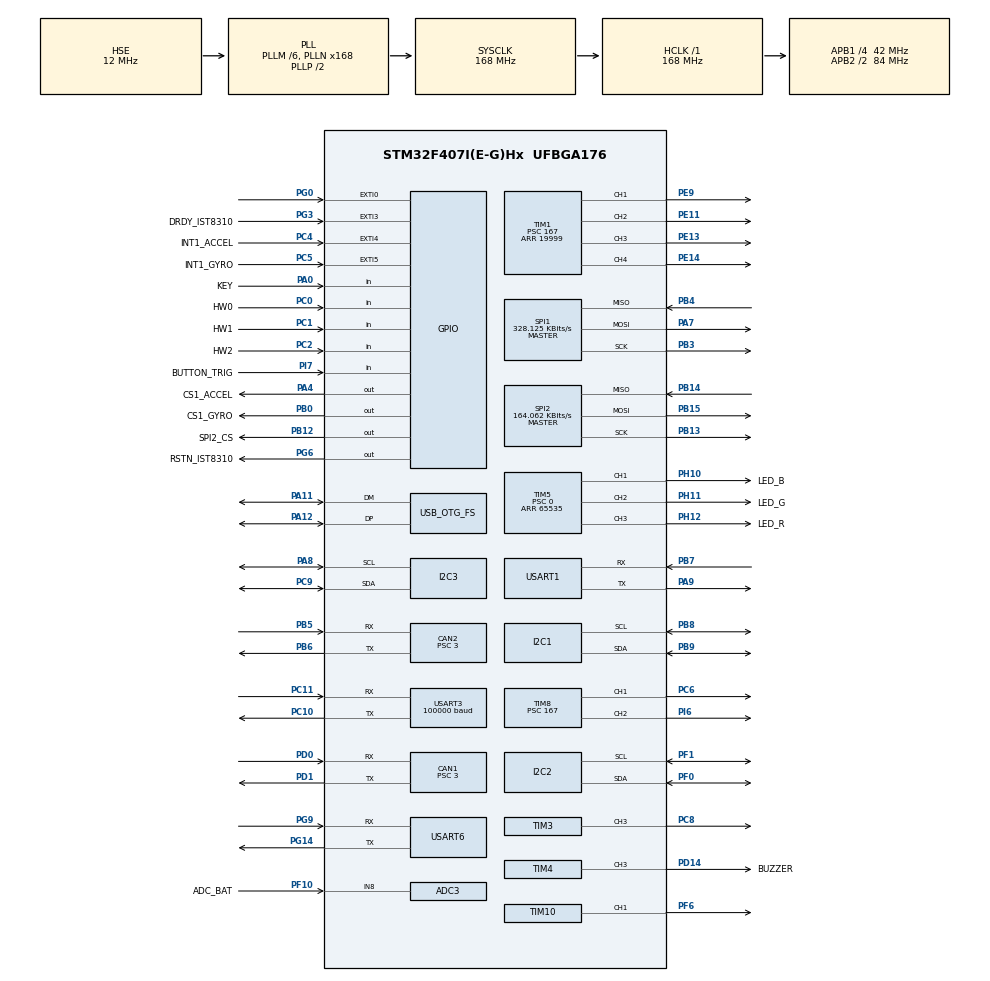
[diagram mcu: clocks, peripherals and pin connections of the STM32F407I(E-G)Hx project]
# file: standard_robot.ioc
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ADC1.Channel-0\#ChannelRegularConversion=ADC_CHANNEL_TEMPSENSOR
ADC1.ClockPrescaler=ADC_CLOCK_SYNC_PCLK_DIV6
ADC1.NbrOfConversionFlag=1
ADC1.Rank-0\#ChannelRegularConversion=1
ADC1.SamplingTime-0\#ChannelRegularConversion=ADC_SAMPLETIME_3CYCLES
ADC1.master=1
ADC3.Channel-0\#ChannelRegularConversion=ADC_CHANNEL_8
ADC3.ClockPrescaler=ADC_CLOCK_SYNC_PCLK_DIV6
ADC3.NbrOfConversionFlag=1
ADC3.Rank-0\#ChannelRegularConversion=1
ADC3.SamplingTime-0\#ChannelRegularConversion=ADC_SAMPLETIME_3CYCLES
CAN1.BS1=CAN_BS1_10TQ
CAN1.BS2=CAN_BS2_3TQ
CAN1.CalculateTimeQuantum=71.42857142857143
CAN1.Prescaler=3
CAN2.BS1=CAN_BS1_10TQ
CAN2.BS2=CAN_BS2_3TQ
CAN2.CalculateTimeQuantum=71.42857142857143
CAN2.Prescaler=3
Dma.I2C2_TX.2.Direction=DMA_MEMORY_TO_PERIPH
Dma.I2C2_TX.2.FIFOMode=DMA_FIFOMODE_DISABLE
Dma.I2C2_TX.2.Instance=DMA1_Stream7
Dma.I2C2_TX.2.MemDataAlignment=DMA_MDATAALIGN_BYTE
Dma.I2C2_TX.2.MemInc=DMA_MINC_ENABLE
Dma.I2C2_TX.2.Mode=DMA_NORMAL
Dma.I2C2_TX.2.PeriphDataAlignment=DMA_PDATAALIGN_BYTE
Dma.I2C2_TX.2.PeriphInc=DMA_PINC_DISABLE
Dma.I2C2_TX.2.Priority=DMA_PRIORITY_HIGH
Dma.Request0=SPI1_RX
Dma.Request1=SPI1_TX
Dma.Request2=I2C2_TX
Dma.Request3=USART3_RX
Dma.Request4=USART6_RX
Dma.Request5=USART6_TX
Dma.Request6=USART1_TX
Dma.Request7=USART1_RX
Dma.SPI1_RX.0.Direction=DMA_PERIPH_TO_MEMORY
Dma.SPI1_RX.0.FIFOMode=DMA_FIFOMODE_DISABLE
Dma.SPI1_RX.0.Instance=DMA2_Stream2
Dma.SPI1_RX.0.MemDataAlignment=DMA_MDATAALIGN_BYTE
Dma.SPI1_RX.0.MemInc=DMA_MINC_ENABLE
Dma.SPI1_RX.0.Mode=DMA_NORMAL
Dma.SPI1_RX.0.PeriphDataAlignment=DMA_PDATAALIGN_BYTE
Dma.SPI1_RX.0.PeriphInc=DMA_PINC_DISABLE
Dma.SPI1_RX.0.Priority=DMA_PRIORITY_VERY_HIGH
Dma.SPI1_TX.1.Direction=DMA_MEMORY_TO_PERIPH
Dma.SPI1_TX.1.FIFOMode=DMA_FIFOMODE_DISABLE
Dma.SPI1_TX.1.Instance=DMA2_Stream3
Dma.SPI1_TX.1.MemDataAlignment=DMA_MDATAALIGN_BYTE
Dma.SPI1_TX.1.MemInc=DMA_MINC_ENABLE
Dma.SPI1_TX.1.Mode=DMA_NORMAL
Dma.SPI1_TX.1.PeriphDataAlignment=DMA_PDATAALIGN_BYTE
Dma.SPI1_TX.1.PeriphInc=DMA_PINC_DISABLE
Dma.SPI1_TX.1.Priority=DMA_PRIORITY_HIGH
Dma.USART1_RX.7.Direction=DMA_PERIPH_TO_MEMORY
Dma.USART1_RX.7.FIFOMode=DMA_FIFOMODE_DISABLE
Dma.USART1_RX.7.Instance=DMA2_Stream5
Dma.USART1_RX.7.MemDataAlignment=DMA_MDATAALIGN_BYTE
Dma.USART1_RX.7.MemInc=DMA_MINC_ENABLE
Dma.USART1_RX.7.Mode=DMA_NORMAL
Dma.USART1_RX.7.PeriphDataAlignment=DMA_PDATAALIGN_BYTE
Dma.USART1_RX.7.PeriphInc=DMA_PINC_DISABLE
Dma.USART1_RX.7.Priority=DMA_PRIORITY_MEDIUM
Dma.USART1_TX.6.Direction=DMA_MEMORY_TO_PERIPH
Dma.USART1_TX.6.FIFOMode=DMA_FIFOMODE_DISABLE
Dma.USART1_TX.6.Instance=DMA2_Stream7
Dma.USART1_TX.6.MemDataAlignment=DMA_MDATAALIGN_BYTE
Dma.USART1_TX.6.MemInc=DMA_MINC_ENABLE
Dma.USART1_TX.6.Mode=DMA_NORMAL
Dma.USART1_TX.6.PeriphDataAlignment=DMA_PDATAALIGN_BYTE
Dma.USART1_TX.6.PeriphInc=DMA_PINC_DISABLE
Dma.USART1_TX.6.Priority=DMA_PRIORITY_MEDIUM
Dma.USART3_RX.3.Direction=DMA_PERIPH_TO_MEMORY
Dma.USART3_RX.3.FIFOMode=DMA_FIFOMODE_DISABLE
Dma.USART3_RX.3.Instance=DMA1_Stream1
Dma.USART3_RX.3.MemDataAlignment=DMA_MDATAALIGN_BYTE
Dma.USART3_RX.3.MemInc=DMA_MINC_ENABLE
Dma.USART3_RX.3.Mode=DMA_NORMAL
Dma.USART3_RX.3.PeriphDataAlignment=DMA_PDATAALIGN_BYTE
Dma.USART3_RX.3.PeriphInc=DMA_PINC_DISABLE
Dma.USART3_RX.3.Priority=DMA_PRIORITY_HIGH
Dma.USART6_RX.4.Direction=DMA_PERIPH_TO_MEMORY
Dma.USART6_RX.4.FIFOMode=DMA_FIFOMODE_DISABLE
Dma.USART6_RX.4.Instance=DMA2_Stream1
Dma.USART6_RX.4.MemDataAlignment=DMA_MDATAALIGN_BYTE
Dma.USART6_RX.4.MemInc=DMA_MINC_ENABLE
Dma.USART6_RX.4.Mode=DMA_NORMAL
Dma.USART6_RX.4.PeriphDataAlignment=DMA_PDATAALIGN_BYTE
Dma.USART6_RX.4.PeriphInc=DMA_PINC_DISABLE
Dma.USART6_RX.4.Priority=DMA_PRIORITY_HIGH
Dma.USART6_TX.5.Direction=DMA_MEMORY_TO_PERIPH
Dma.USART6_TX.5.FIFOMode=DMA_FIFOMODE_DISABLE
Dma.USART6_TX.5.Instance=DMA2_Stream6
Dma.USART6_TX.5.MemDataAlignment=DMA_MDATAALIGN_BYTE
Dma.USART6_TX.5.MemInc=DMA_MINC_ENABLE
Dma.USART6_TX.5.Mode=DMA_NORMAL
Dma.USART6_TX.5.PeriphDataAlignment=DMA_PDATAALIGN_BYTE
Dma.USART6_TX.5.PeriphInc=DMA_PINC_DISABLE
Dma.USART6_TX.5.Priority=DMA_PRIORITY_MEDIUM
FREERTOS.INCLUDE_eTaskGetState=1
FREERTOS.INCLUDE_pcTaskGetTaskName=1
FREERTOS.INCLUDE_uxTaskGetStackHighWaterMark=1
FREERTOS.INCLUDE_vTaskCleanUpResources=1
FREERTOS.INCLUDE_vTaskDelayUntil=1
FREERTOS.INCLUDE_xEventGroupSetBitFromISR=1
FREERTOS.INCLUDE_xQueueGetMutexHolder=1
FREERTOS.INCLUDE_xSemaphoreGetMutexHolder=1
FREERTOS.INCLUDE_xTaskAbortDelay=1
FREERTOS.INCLUDE_xTaskGetCurrentTaskHandle=1
FREERTOS.INCLUDE_xTaskGetHandle=1
FREERTOS.INCLUDE_xTimerPendFunctionCall=1
FREERTOS.Tasks01=test,24,128,test_task,As weak,NULL,Dynamic,NULL,NULL
FREERTOS.configTOTAL_HEAP_SIZE=24576
I2C1.I2C_Mode=I2C_Fast
I2C2.I2C_Mode=I2C_Fast
I2C3.I2C_Mode=I2C_Fast
Mcu.Family=STM32F4
Mcu.Name=STM32F407I(E-G)Hx
Mcu.Package=UFBGA176
NVIC.CAN1_RX0_IRQn=true\:6\:0\:true\:false\:true\:true\:true\:true\:true
NVIC.CAN2_RX0_IRQn=true\:6\:0\:true\:false\:true\:true\:true\:true\:true
NVIC.DMA1_Stream1_IRQn=true\:5\:0\:true\:false\:false\:true\:false\:false\:true
NVIC.DMA1_Stream7_IRQn=true\:5\:0\:true\:false\:false\:true\:false\:true\:true
NVIC.DMA2_Stream1_IRQn=true\:5\:0\:true\:false\:true\:true\:false\:true\:true
NVIC.DMA2_Stream2_IRQn=true\:5\:0\:true\:false\:false\:true\:false\:true\:true
NVIC.DMA2_Stream3_IRQn=true\:5\:0\:true\:false\:false\:true\:false\:true\:true
NVIC.DMA2_Stream5_IRQn=true\:5\:0\:false\:false\:true\:true\:false\:true\:true
NVIC.DMA2_Stream6_IRQn=true\:5\:0\:true\:false\:true\:true\:false\:true\:true
NVIC.DMA2_Stream7_IRQn=true\:5\:0\:true\:false\:true\:true\:false\:true\:true
NVIC.EXTI0_IRQn=true\:6\:0\:true\:false\:true\:true\:true\:true\:true
NVIC.EXTI3_IRQn=true\:5\:0\:true\:false\:true\:true\:true\:true\:true
NVIC.EXTI4_IRQn=true\:5\:0\:true\:false\:true\:true\:true\:true\:true
NVIC.EXTI9_5_IRQn=true\:5\:0\:true\:false\:true\:true\:true\:true\:true
NVIC.OTG_FS_IRQn=true\:5\:0\:false\:false\:true\:true\:false\:true\:true
NVIC.PriorityGroup=NVIC_PRIORITYGROUP_4
NVIC.USART1_IRQn=true\:5\:0\:false\:false\:true\:true\:true\:true\:true
NVIC.USART3_IRQn=true\:4\:0\:true\:false\:false\:false\:true\:true\:true
NVIC.USART6_IRQn=true\:5\:0\:true\:false\:false\:true\:true\:true\:true
PA0-WKUP.GPIO_Label=KEY
PA0-WKUP.GPIO_PuPd=GPIO_PULLUP
PA0-WKUP.Signal=GPIO_Input
PA11.Mode=Device_Only
PA11.Signal=USB_OTG_FS_DM
PA12.Mode=Device_Only
PA12.Signal=USB_OTG_FS_DP
PA13.Mode=Serial_Wire
PA13.Signal=SYS_JTMS-SWDIO
PA14.Mode=Serial_Wire
PA14.Signal=SYS_JTCK-SWCLK
PA4.GPIO_Label=CS1_ACCEL
PA4.GPIO_PuPd=GPIO_PULLUP
PA4.GPIO_Speed=GPIO_SPEED_FREQ_HIGH
PA4.PinState=GPIO_PIN_SET
PA4.Signal=GPIO_Output
PA7.GPIO_PuPd=GPIO_PULLUP
PA7.Mode=Full_Duplex_Master
PA7.Signal=SPI1_MOSI
PA8.Mode=I2C
PA8.Signal=I2C3_SCL
PA9.Mode=Asynchronous
PA9.Signal=USART1_TX
PB0.GPIO_Label=CS1_GYRO
PB0.GPIO_PuPd=GPIO_PULLUP
PB0.GPIO_Speed=GPIO_SPEED_FREQ_HIGH
PB0.PinState=GPIO_PIN_SET
PB0.Signal=GPIO_Output
PB12.GPIO_Label=SPI2_CS
PB12.GPIO_PuPd=GPIO_PULLUP
PB12.GPIO_Speed=GPIO_SPEED_FREQ_MEDIUM
PB12.PinState=GPIO_PIN_SET
PB12.Signal=GPIO_Output
PB13.GPIO_PuPd=GPIO_PULLUP
PB13.Mode=Full_Duplex_Master
PB13.Signal=SPI2_SCK
PB14.GPIO_PuPd=GPIO_PULLUP
PB14.Mode=Full_Duplex_Master
PB14.Signal=SPI2_MISO
PB15.GPIO_PuPd=GPIO_PULLUP
PB15.Mode=Full_Duplex_Master
PB15.Signal=SPI2_MOSI
PB3.GPIO_PuPd=GPIO_PULLUP
PB3.Mode=Full_Duplex_Master
PB3.Signal=SPI1_SCK
PB4.GPIO_PuPd=GPIO_PULLUP
PB4.Mode=Full_Duplex_Master
PB4.Signal=SPI1_MISO
PB5.Mode=Slave
PB5.Signal=CAN2_RX
PB6.Mode=Slave
PB6.Signal=CAN2_TX
PB7.Mode=Asynchronous
PB7.Signal=USART1_RX
PB8.Mode=I2C
PB8.Signal=I2C1_SCL
PB9.Mode=I2C
PB9.Signal=I2C1_SDA
PC0.GPIO_Label=HW0
PC0.Signal=GPIO_Input
PC1.GPIO_Label=HW1
PC1.Signal=GPIO_Input
PC10.Mode=Asynchronous
PC10.Signal=USART3_TX
PC11.Mode=Asynchronous
PC11.Signal=USART3_RX
PC2.GPIO_Label=HW2
PC2.Signal=GPIO_Input
PC4.GPIO_Label=INT1_ACCEL
PC4.GPIO_ModeDefaultEXTI=GPIO_MODE_IT_FALLING
PC4.GPIO_PuPd=GPIO_PULLUP
PC4.Signal=GPXTI4
PC5.GPIO_Label=INT1_GYRO
PC5.GPIO_ModeDefaultEXTI=GPIO_MODE_IT_FALLING
PC5.GPIO_PuPd=GPIO_PULLUP
PC5.Signal=GPXTI5
PC6.GPIO_PuPd=GPIO_PULLUP
PC6.GPIO_Speed=GPIO_SPEED_FREQ_HIGH
PC6.Signal=S_TIM8_CH1
PC8.GPIO_PuPd=GPIO_PULLUP
PC8.GPIO_Speed=GPIO_SPEED_FREQ_HIGH
PC8.Signal=S_TIM3_CH3
PC9.Mode=I2C
PC9.Signal=I2C3_SDA
PD0.Mode=Master
PD0.Signal=CAN1_RX
PD1.Mode=Master
PD1.Signal=CAN1_TX
PD14.GPIO_Label=BUZZER
PD14.GPIO_PuPd=GPIO_PULLUP
PD14.GPIO_Speed=GPIO_SPEED_FREQ_VERY_HIGH
PD14.Signal=S_TIM4_CH3
PE11.GPIO_PuPd=GPIO_PULLUP
PE11.GPIO_Speed=GPIO_SPEED_FREQ_HIGH
PE11.Signal=S_TIM1_CH2
PE13.GPIO_PuPd=GPIO_PULLUP
PE13.GPIO_Speed=GPIO_SPEED_FREQ_HIGH
PE13.Signal=S_TIM1_CH3
PE14.GPIO_PuPd=GPIO_PULLUP
PE14.GPIO_Speed=GPIO_SPEED_FREQ_HIGH
PE14.Signal=S_TIM1_CH4
PE9.GPIO_PuPd=GPIO_PULLUP
PE9.GPIO_Speed=GPIO_SPEED_FREQ_HIGH
PE9.Signal=S_TIM1_CH1
PF0.Mode=I2C
PF0.Signal=I2C2_SDA
PF1.Mode=I2C
PF1.Signal=I2C2_SCL
PF10.GPIO_Label=ADC_BAT
PF10.Mode=IN8
PF10.Signal=ADC3_IN8
PF6.GPIO_PuPd=GPIO_PULLUP
PF6.GPIO_Speed=GPIO_SPEED_FREQ_HIGH
PF6.Signal=S_TIM10_CH1
PG0.GPIO_ModeDefaultEXTI=GPIO_MODE_IT_FALLING
PG0.GPIO_PuPd=GPIO_PULLUP
PG0.Signal=GPXTI0
PG14.Mode=Asynchronous
PG14.Signal=USART6_TX
PG3.GPIO_Label=DRDY_IST8310
PG3.GPIO_ModeDefaultEXTI=GPIO_MODE_IT_FALLING
PG3.GPIO_PuPd=GPIO_PULLUP
PG3.Signal=GPXTI3
PG6.GPIO_Label=RSTN_IST8310
PG6.GPIO_PuPd=GPIO_PULLUP
PG6.GPIO_Speed=GPIO_SPEED_FREQ_MEDIUM
PG6.PinState=GPIO_PIN_SET
PG6.Signal=GPIO_Output
PG9.Mode=Asynchronous
PG9.Signal=USART6_RX
PH0-OSC_IN.Mode=HSE-External-Oscillator
PH0-OSC_IN.Signal=RCC_OSC_IN
PH1-OSC_OUT.Mode=HSE-External-Oscillator
PH1-OSC_OUT.Signal=RCC_OSC_OUT
PH10.GPIO_Label=LED_B
PH10.GPIO_PuPd=GPIO_PULLUP
PH10.GPIO_Speed=GPIO_SPEED_FREQ_HIGH
PH10.Signal=S_TIM5_CH1
PH11.GPIO_Label=LED_G
PH11.GPIO_PuPd=GPIO_PULLUP
PH11.GPIO_Speed=GPIO_SPEED_FREQ_HIGH
PH11.Signal=S_TIM5_CH2
PH12.GPIO_Label=LED_R
PH12.GPIO_PuPd=GPIO_PULLUP
PH12.GPIO_Speed=GPIO_SPEED_FREQ_HIGH
PH12.Signal=S_TIM5_CH3
PI6.GPIO_PuPd=GPIO_PULLUP
PI6.GPIO_Speed=GPIO_SPEED_FREQ_HIGH
PI6.Signal=S_TIM8_CH2
PI7.GPIO_Label=BUTTON_TRIG
PI7.GPIO_PuPd=GPIO_PULLUP
PI7.Signal=GPIO_Input
ProjectManager.HeapSize=0x2000
ProjectManager.StackSize=0x2000
ProjectManager.TargetToolchain=MDK-ARM V5
RCC.48MHZClocksFreq_Value=48000000
RCC.AHBFreq_Value=168000000
RCC.APB1CLKDivider=RCC_HCLK_DIV4
RCC.APB1Freq_Value=42000000
RCC.APB1TimFreq_Value=84000000
RCC.APB2CLKDivider=RCC_HCLK_DIV2
RCC.APB2Freq_Value=84000000
RCC.APB2TimFreq_Value=168000000
RCC.CortexFreq_Value=168000000
RCC.HCLKFreq_Value=168000000
RCC.HSE_VALUE=12000000
RCC.HSI_VALUE=16000000
RCC.LSE_VALUE=32768
RCC.PLLM=6
RCC.PLLN=168
RCC.PLLQ=7
RCC.RCC_RTC_Clock_SourceVirtual=RCC_RTCCLKSOURCE_HSE_DIV30
RCC.RCC_RTC_Clock_Source_FROM_HSE=RCC_RTCCLKSOURCE_HSE_DIV30
RCC.SYSCLKFreq_VALUE=168000000
RCC.SYSCLKSource=RCC_SYSCLKSOURCE_PLLCLK
RCC.VCOOutputFreq_Value=336000000
RTC.AsynchPrediv=124
RTC.SynchPrediv=3199
SH.S_TIM10_CH1.0=TIM10_CH1,PWM Generation1 CH1
SH.S_TIM1_CH1.0=TIM1_CH1,PWM Generation1 CH1
SH.S_TIM1_CH2.0=TIM1_CH2,PWM Generation2 CH2
SH.S_TIM1_CH3.0=TIM1_CH3,PWM Generation3 CH3
SH.S_TIM1_CH4.0=TIM1_CH4,PWM Generation4 CH4
SH.S_TIM3_CH3.0=TIM3_CH3,PWM Generation3 CH3
SH.S_TIM4_CH3.0=TIM4_CH3,PWM Generation3 CH3
SH.S_TIM5_CH1.0=TIM5_CH1,PWM Generation1 CH1
SH.S_TIM5_CH2.0=TIM5_CH2,PWM Generation2 CH2
SH.S_TIM5_CH3.0=TIM5_CH3,PWM Generation3 CH3
SH.S_TIM8_CH1.0=TIM8_CH1,PWM Generation1 CH1
SH.S_TIM8_CH2.0=TIM8_CH2,PWM Generation2 CH2
SPI1.BaudRatePrescaler=SPI_BAUDRATEPRESCALER_256
SPI1.CLKPhase=SPI_PHASE_2EDGE
SPI1.CLKPolarity=SPI_POLARITY_HIGH
SPI1.CalculateBaudRate=328.125 KBits/s
SPI1.Direction=SPI_DIRECTION_2LINES
SPI1.Mode=SPI_MODE_MASTER
SPI1.VirtualType=VM_MASTER
SPI2.BaudRatePrescaler=SPI_BAUDRATEPRESCALER_256
SPI2.CLKPhase=SPI_PHASE_1EDGE
SPI2.CLKPolarity=SPI_POLARITY_LOW
SPI2.CalculateBaudRate=164.062 KBits/s
SPI2.Direction=SPI_DIRECTION_2LINES
SPI2.FirstBit=SPI_FIRSTBIT_LSB
SPI2.Mode=SPI_MODE_MASTER
SPI2.VirtualType=VM_MASTER
TIM1.Channel-PWM\ Generation1\ CH1=TIM_CHANNEL_1
TIM1.Channel-PWM\ Generation2\ CH2=TIM_CHANNEL_2
TIM1.Channel-PWM\ Generation3\ CH3=TIM_CHANNEL_3
TIM1.Channel-PWM\ Generation4\ CH4=TIM_CHANNEL_4
TIM1.Period=19999
TIM1.Prescaler=167
TIM1.Pulse-PWM\ Generation1\ CH1=1000
TIM1.Pulse-PWM\ Generation2\ CH2=1000
TIM1.Pulse-PWM\ Generation3\ CH3=1000
TIM1.Pulse-PWM\ Generation4\ CH4=1000
TIM10.Channel=TIM_CHANNEL_1
TIM10.Period=4999
TIM3.Channel-PWM\ Generation3\ CH3=TIM_CHANNEL_3
TIM3.Period=8399
TIM4.Channel-PWM\ Generation3\ CH3=TIM_CHANNEL_3
TIM4.Period=65535
TIM4.Prescaler=167
TIM5.Channel-PWM\ Generation1\ CH1=TIM_CHANNEL_1
TIM5.Channel-PWM\ Generation2\ CH2=TIM_CHANNEL_2
TIM5.Channel-PWM\ Generation3\ CH3=TIM_CHANNEL_3
TIM5.Period=65535
TIM5.Prescaler=0
TIM8.Channel-PWM\ Generation1\ CH1=TIM_CHANNEL_1
TIM8.Channel-PWM\ Generation2\ CH2=TIM_CHANNEL_2
TIM8.Period=19999
TIM8.Prescaler=167
TIM8.Pulse-PWM\ Generation1\ CH1=1000
TIM8.Pulse-PWM\ Generation2\ CH2=1000
USART1.VirtualMode=VM_ASYNC
USART3.BaudRate=100000
USART3.Parity=PARITY_EVEN
USART3.VirtualMode=VM_ASYNC
USART6.VirtualMode=VM_ASYNC
USB_DEVICE.CLASS_NAME_FS=CDC
USB_DEVICE.VirtualMode-CDC_FS=Cdc
USB_DEVICE.VirtualModeFS=Cdc_FS
USB_OTG_FS.VirtualMode=Device_Only
VP_ADC1_TempSens_Input.Mode=IN-TempSens
VP_ADC1_Vref_Input.Mode=IN-Vrefint
VP_CRC_VS_CRC.Mode=CRC_Activate
VP_FREERTOS_VS_CMSIS_V1.Mode=CMSIS_V1
VP_RNG_VS_RNG.Mode=RNG_Activate
VP_RTC_VS_RTC_Activate.Mode=RTC_Enabled
VP_TIM10_VS_ClockSourceINT.Mode=Enable_Timer
VP_TIM1_VS_ClockSourceINT.Mode=Internal
VP_TIM3_VS_ClockSourceINT.Mode=Internal
VP_TIM4_VS_ClockSourceINT.Mode=Internal
VP_TIM5_VS_ClockSourceINT.Mode=Internal
VP_TIM8_VS_ClockSourceINT.Mode=Internal
VP_USB_DEVICE_VS_USB_DEVICE_CDC_FS.Mode=CDC_FS
board=custom

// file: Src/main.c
/* USER CODE BEGIN Header */
/**
  ******************************************************************************
  * @file           : main.c
  * @brief          : Main program body
  ******************************************************************************
  * @attention
  *
  * <h2><center>&copy; Copyright (c) 2019 STMicroelectronics.
  * All rights reserved.</center></h2>
  *
  * This software component is licensed by ST under Ultimate Liberty license
  * SLA0044, the "License"; You may not use this file except in compliance with
  * the License. You may obtain a copy of the License at:
  *                             www.st.com/SLA0044
  *
  ******************************************************************************
  */
/* USER CODE END Header */

#include "main.h"
#include "cmsis_os.h"
#include "adc.h"
#include "can.h"
#include "crc.h"
#include "dma.h"
#include "i2c.h"
#include "rng.h"
#include "rtc.h"
#include "spi.h"
#include "tim.h"
#include "usart.h"
#include "usb_device.h"
#include "gpio.h"

/* USER CODE BEGIN Includes */
#include "bsp_can.h"
#include "bsp_delay.h"
#include "bsp_usart.h"
#include "robot_param.h"
#include "remote_control.h"

#include "chassis_task.h"
#include "detect_task.h"
#include "gimbal_task.h"
#include "IMU_task.h"
#include "led_flow_task.h"
#include "oled_task.h"
#include "referee_usart_task.h"
#include "usb_task.h"
#include "voltage_task.h"
/* USER CODE END Includes */

void SystemClock_Config(void);
void MX_FREERTOS_Init(void);

int main(void)
{

  /* MCU Configuration--------------------------------------------------------*/

  /* Reset of all peripherals, Initializes the Flash interface and the Systick. */
  HAL_Init();

  /* Configure the system clock */
  SystemClock_Config();

  /* Initialize all configured peripherals */
  MX_GPIO_Init();
  MX_DMA_Init();
  MX_ADC1_Init();
  MX_ADC3_Init();
  MX_CAN1_Init();
  MX_CAN2_Init();
  MX_I2C1_Init();
  MX_SPI1_Init();
  MX_TIM4_Init();
  MX_TIM5_Init();
  MX_USART3_UART_Init();
  MX_TIM8_Init();
  MX_CRC_Init();
  MX_RNG_Init();
  MX_I2C2_Init();
  MX_I2C3_Init();
  MX_RTC_Init();
  MX_SPI2_Init();
  MX_TIM1_Init();
  MX_TIM3_Init();
  MX_TIM10_Init();
  MX_USART1_UART_Init();
  MX_USART6_UART_Init();
  /* USER CODE BEGIN 2 */
    can_filter_init();
    delay_init();
    remote_control_init();
#if !VOFA_ENABLE
    usart1_tx_dma_init();
#endif
  /* USER CODE END 2 */

  /* Call init function for freertos objects (in freertos.c) */
  MX_FREERTOS_Init();

  /* Start scheduler */
  osKernelStart();

  /* We should never get here as control is now taken by the scheduler */

  /* Infinite loop */
  while (1)
  {

  }
}

void SystemClock_Config(void)
{
  RCC_OscInitTypeDef RCC_OscInitStruct = {0};
  RCC_ClkInitTypeDef RCC_ClkInitStruct = {0};
  RCC_PeriphCLKInitTypeDef PeriphClkInitStruct = {0};

  /** Configure the main internal regulator output voltage
  */
  __HAL_RCC_PWR_CLK_ENABLE();
  __HAL_PWR_VOLTAGESCALING_CONFIG(PWR_REGULATOR_VOLTAGE_SCALE1);
  /** Initializes the CPU, AHB and APB busses clocks
  */
  RCC_OscInitStruct.OscillatorType = RCC_OSCILLATORTYPE_HSE;
  RCC_OscInitStruct.HSEState = RCC_HSE_ON;
  RCC_OscInitStruct.PLL.PLLState = RCC_PLL_ON;
  RCC_OscInitStruct.PLL.PLLSource = RCC_PLLSOURCE_HSE;
  RCC_OscInitStruct.PLL.PLLM = 6;
  RCC_OscInitStruct.PLL.PLLN = 168;
  RCC_OscInitStruct.PLL.PLLP = RCC_PLLP_DIV2;
  RCC_OscInitStruct.PLL.PLLQ = 7;
  if (HAL_RCC_OscConfig(&RCC_OscInitStruct) != HAL_OK)
  {
    Error_Handler();
  }
  /** Initializes the CPU, AHB and APB busses clocks
  */
  RCC_ClkInitStruct.ClockType = RCC_CLOCKTYPE_HCLK|RCC_CLOCKTYPE_SYSCLK
                              |RCC_CLOCKTYPE_PCLK1|RCC_CLOCKTYPE_PCLK2;
  RCC_ClkInitStruct.SYSCLKSource = RCC_SYSCLKSOURCE_PLLCLK;
  RCC_ClkInitStruct.AHBCLKDivider = RCC_SYSCLK_DIV1;
  RCC_ClkInitStruct.APB1CLKDivider = RCC_HCLK_DIV4;
  RCC_ClkInitStruct.APB2CLKDivider = RCC_HCLK_DIV2;

  if (HAL_RCC_ClockConfig(&RCC_ClkInitStruct, FLASH_LATENCY_5) != HAL_OK)
  {
    Error_Handler();
  }
  PeriphClkInitStruct.PeriphClockSelection = RCC_PERIPHCLK_RTC;
  PeriphClkInitStruct.RTCClockSelection = RCC_RTCCLKSOURCE_HSE_DIV30;
  if (HAL_RCCEx_PeriphCLKConfig(&PeriphClkInitStruct) != HAL_OK)
  {
    Error_Handler();
  }
}

void Error_Handler(void)
{
}

/************************ (C) COPYRIGHT STMicroelectronics *****END OF FILE****/

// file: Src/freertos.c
/* USER CODE BEGIN Header */
/**
  ******************************************************************************
  * File Name          : freertos.c
  * Description        : Code for freertos applications
  ******************************************************************************
  * @attention
  *
  * <h2><center>&copy; Copyright (c) 2019 STMicroelectronics.
  * All rights reserved.</center></h2>
  *
  * This software component is licensed by ST under Ultimate Liberty license
  * SLA0044, the "License"; You may not use this file except in compliance with
  * the License. You may obtain a copy of the License at:
  *                             www.st.com/SLA0044
  *
  ******************************************************************************
  */
/* USER CODE END Header */

#include "FreeRTOS.h"

#include "cmsis_os.h"
#include "main.h"
#include "task.h"

/* USER CODE BEGIN Includes */
#include "IMU_task.h"
#include "chassis_task.h"
#include "communication_task.h"
#include "custom_controller_task.h"
#include "detect_task.h"
#include "develop_task.h"
#include "gimbal_task.h"
#include "led_flow_task.h"
#include "mechanical_arm_task.h"
#include "music_task.h"
#include "oled_task.h"
#include "ps2_task.h"
#include "referee_usart_task.h"
#include "robot_param.h"
#include "shoot_task.h"
#include "usb_task.h"
#include "voltage_task.h"
/* USER CODE END Includes */

/* USER CODE BEGIN PTD */

osThreadId detect_handle;

osThreadId communication_handle;

#if (CHASSIS_TYPE != CHASSIS_NONE)
osThreadId chassisTaskHandle;
#endif

#if (GIMBAL_TYPE != GIMBAL_NONE)
osThreadId gimbalTaskHandle;
#endif

#if (SHOOT_TYPE != SHOOT_NONE)
osThreadId shootTaskHandle;
#endif

#if (MECHANICAL_ARM_TYPE != MECHANICAL_ARM_NONE)
osThreadId mechanical_armTaskHandle;
#endif

#if (CUSTOM_CONTROLLER_TYPE != CUSTOM_CONTROLLER_NONE)
osThreadId customControllerTaskHandle;
#endif

osThreadId musicTaskHandle;

#if (__DEVELOP)
osThreadId developTaskHandle;
#endif

osThreadId imuTaskHandle;

osThreadId led_RGB_flow_handle;

osThreadId oled_handle;

osThreadId referee_usart_task_handle;

osThreadId jlui_ui_task_handle;

osThreadId usb_task_handle;

#if (__CONTROL_LINK_PS2 == CL_PS2_DIRECT)
osThreadId ps2_task_handle;
#endif

// osThreadId usb_send_task_handle;

// osThreadId usb_receive_task_handle;

osThreadId battery_voltage_handle;

/* USER CODE END PTD */

osThreadId testHandle;

void test_task(void const * argument);

extern void MX_USB_DEVICE_Init(void);
void MX_FREERTOS_Init(void); /* (MISRA C 2004 rule 8.1) */

/* GetIdleTaskMemory prototype (linked to static allocation support) */
void vApplicationGetIdleTaskMemory(
    StaticTask_t ** ppxIdleTaskTCBBuffer, StackType_t ** ppxIdleTaskStackBuffer,
    uint32_t * pulIdleTaskStackSize);

/* GetTimerTaskMemory prototype (linked to static allocation support) */
void vApplicationGetTimerTaskMemory(
    StaticTask_t ** ppxTimerTaskTCBBuffer, StackType_t ** ppxTimerTaskStackBuffer,
    uint32_t * pulTimerTaskStackSize);

/* USER CODE BEGIN GET_IDLE_TASK_MEMORY */
static StaticTask_t xIdleTaskTCBBuffer;
static StackType_t xIdleStack[configMINIMAL_STACK_SIZE];

void vApplicationGetIdleTaskMemory(
    StaticTask_t ** ppxIdleTaskTCBBuffer, StackType_t ** ppxIdleTaskStackBuffer,
    uint32_t * pulIdleTaskStackSize)
{
    *ppxIdleTaskTCBBuffer = &xIdleTaskTCBBuffer;
    *ppxIdleTaskStackBuffer = &xIdleStack[0];
    *pulIdleTaskStackSize = configMINIMAL_STACK_SIZE;
    /* place for user code */
}
/* USER CODE END GET_IDLE_TASK_MEMORY */

/* USER CODE BEGIN GET_TIMER_TASK_MEMORY */
static StaticTask_t xTimerTaskTCBBuffer;
static StackType_t xTimerStack[configTIMER_TASK_STACK_DEPTH];

void vApplicationGetTimerTaskMemory(
    StaticTask_t ** ppxTimerTaskTCBBuffer, StackType_t ** ppxTimerTaskStackBuffer,
    uint32_t * pulTimerTaskStackSize)
{
    *ppxTimerTaskTCBBuffer = &xTimerTaskTCBBuffer;
    *ppxTimerTaskStackBuffer = &xTimerStack[0];
    *pulTimerTaskStackSize = configTIMER_TASK_STACK_DEPTH;
    /* place for user code */
}
/* USER CODE END GET_TIMER_TASK_MEMORY */

void MX_FREERTOS_Init(void)
{

    /* Create the thread(s) */
    /* definition and creation of test */
    osThreadDef(test, test_task, osPriorityNormal, 0, 128);
    testHandle = osThreadCreate(osThread(test), NULL);

    /* USER CODE BEGIN RTOS_THREADS */
    /* add threads, ... */
    osThreadDef(DETECT, detect_task, osPriorityNormal, 0, 256);
    detect_handle = osThreadCreate(osThread(DETECT), NULL);

    osThreadDef(COMMUNICATION, communication_task, osPriorityNormal, 0, 256);
    communication_handle = osThreadCreate(osThread(COMMUNICATION), NULL);

#if (CHASSIS_TYPE != CHASSIS_NONE)
    osThreadDef(ChassisTask, chassis_task, osPriorityAboveNormal, 0, 512);
    chassisTaskHandle = osThreadCreate(osThread(ChassisTask), NULL);
#endif

#if (GIMBAL_TYPE != GIMBAL_NONE)
    osThreadDef(gimbalTask, gimbal_task, osPriorityHigh, 0, 512);
    gimbalTaskHandle = osThreadCreate(osThread(gimbalTask), NULL);
#endif

#if (SHOOT_TYPE != SHOOT_NONE)
    osThreadDef(shootTask, shoot_task, osPriorityHigh, 0, 512);
    shootTaskHandle = osThreadCreate(osThread(shootTask), NULL);
#endif

#if (MECHANICAL_ARM_TYPE != MECHANICAL_ARM_NONE)
    osThreadDef(mechanical_armTask, mechanical_arm_task, osPriorityHigh, 0, 512);
    mechanical_armTaskHandle = osThreadCreate(osThread(mechanical_armTask), NULL);
#endif

#if (CUSTOM_CONTROLLER_TYPE != CUSTOM_CONTROLLER_NONE)
    osThreadDef(customControllerTask, custom_controller_task, osPriorityHigh, 0, 512);
    customControllerTaskHandle = osThreadCreate(osThread(customControllerTask), NULL);
#endif

    osThreadDef(musicTask, music_task, osPriorityNormal, 0, 256);
    musicTaskHandle = osThreadCreate(osThread(musicTask), NULL);

#if (__DEVELOP)
    osThreadDef(developTask, develop_task, osPriorityNormal, 0, 256);
    developTaskHandle = osThreadCreate(osThread(developTask), NULL);
#endif

    osThreadDef(imuTask, IMU_task, osPriorityRealtime, 0, 1024);
    imuTaskHandle = osThreadCreate(osThread(imuTask), NULL);

    osThreadDef(led, led_RGB_flow_task, osPriorityNormal, 0, 128);
    led_RGB_flow_handle = osThreadCreate(osThread(led), NULL);

    //    osThreadDef(OLED, oled_task, osPriorityLow, 0, 256);
    //    oled_handle = osThreadCreate(osThread(OLED), NULL);

    osThreadDef(REFEREE, referee_usart_task, osPriorityNormal, 0, 128);
    referee_usart_task_handle = osThreadCreate(osThread(REFEREE), NULL);

    osThreadDef(JLUI_UI, jlui_ui_task, osPriorityNormal, 0, 1024);
    jlui_ui_task_handle = osThreadCreate(osThread(JLUI_UI), NULL);

    osThreadDef(USB_Task, usb_task, osPriorityNormal, 0, 128);
    usb_task_handle = osThreadCreate(osThread(USB_Task), NULL);

#if (__CONTROL_LINK_PS2 == CL_PS2_DIRECT)
    osThreadDef(PS2_Task, ps2_task, osPriorityNormal, 0, 128);
    ps2_task_handle = osThreadCreate(osThread(PS2_Task), NULL);
#endif

    osThreadDef(BATTERY_VOLTAGE, battery_voltage_task, osPriorityNormal, 0, 128);
    battery_voltage_handle = osThreadCreate(osThread(BATTERY_VOLTAGE), NULL);

    /* USER CODE END RTOS_THREADS */
}

__weak void test_task(void const * argument)
{
    /* init code for USB_DEVICE */
    MX_USB_DEVICE_Init();

    for (;;) {
        osDelay(1);
    }
}

/************************ (C) COPYRIGHT STMicroelectronics *****END OF FILE****/
